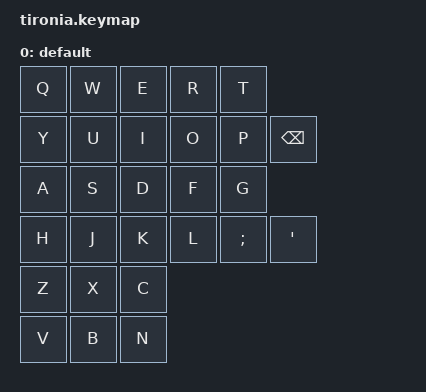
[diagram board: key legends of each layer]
#include <behaviors.dtsi>
#include <dt-bindings/zmk/keys.h>
#include <dt-bindings/zmk/bt.h>

/ {
    keymap {
        compatible = "zmk,keymap";

        default_layer {
            display-name = "default";
            
            bindings = <
                /* Top Left (5) */
                &kp Q     &kp W     &kp E     &kp R     &kp T
                /* Top Right (6) */
                &kp Y     &kp U     &kp I     &kp O     &kp P     &kp BSPC
                /* Mid Left (5) */
                &kp A     &kp S     &kp D     &kp F     &kp G
                /* Mid Right (6) */
                &kp H     &kp J     &kp K     &kp L     &kp SEMI  &kp SQT
                /* Thumb Left (3) */
                &kp Z     &kp X     &kp C
                /* Thumb Right (3) */
                &kp V     &kp B     &kp N
            >;
        };
    };
};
